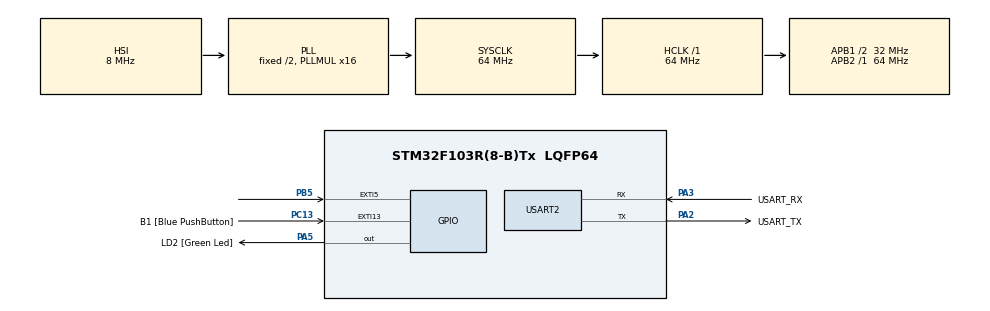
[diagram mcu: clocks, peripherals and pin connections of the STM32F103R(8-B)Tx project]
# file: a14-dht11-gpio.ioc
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Mcu.Family=STM32F1
Mcu.Name=STM32F103R(8-B)Tx
Mcu.Package=LQFP64
NVIC.EXTI15_10_IRQn=true\:0\:0\:false\:false\:true\:true\:true
NVIC.EXTI9_5_IRQn=true\:0\:0\:false\:false\:true\:true\:true
NVIC.PriorityGroup=NVIC_PRIORITYGROUP_4
NVIC.TIM3_IRQn=true\:0\:0\:false\:false\:true\:true\:true
PA13.GPIO_Label=TMS
PA13.Mode=Serial_Wire
PA13.Signal=SYS_JTMS-SWDIO
PA14.GPIO_Label=TCK
PA14.Mode=Serial_Wire
PA14.Signal=SYS_JTCK-SWCLK
PA2.GPIO_Label=USART_TX
PA2.GPIO_Mode=GPIO_MODE_AF_PP
PA2.GPIO_PuPd=GPIO_NOPULL
PA2.GPIO_Speed=GPIO_SPEED_FREQ_LOW
PA2.Mode=Asynchronous
PA2.Signal=USART2_TX
PA3.GPIO_Label=USART_RX
PA3.GPIO_Mode=GPIO_MODE_AF_PP
PA3.GPIO_PuPd=GPIO_NOPULL
PA3.GPIO_Speed=GPIO_SPEED_FREQ_LOW
PA3.Mode=Asynchronous
PA3.Signal=USART2_RX
PA5.GPIO_Label=LD2 [Green Led]
PA5.GPIO_ModeDefaultOutputPP=GPIO_MODE_OUTPUT_PP
PA5.GPIO_PuPd=GPIO_NOPULL
PA5.GPIO_Speed=GPIO_SPEED_FREQ_LOW
PA5.Signal=GPIO_Output
PB3.GPIO_Label=SWO
PB3.Signal=SYS_JTDO-TRACESWO
PB5.GPIO_ModeDefaultEXTI=GPIO_MODE_IT_FALLING
PB5.Signal=GPXTI5
PC13-TAMPER-RTC.GPIO_Label=B1 [Blue PushButton]
PC13-TAMPER-RTC.GPIO_PuPd=GPIO_NOPULL
PC13-TAMPER-RTC.Signal=GPXTI13
PC14-OSC32_IN.Mode=LSE-External-Oscillator
PC14-OSC32_IN.Signal=RCC_OSC32_IN
PC15-OSC32_OUT.Mode=LSE-External-Oscillator
PC15-OSC32_OUT.Signal=RCC_OSC32_OUT
PD0-OSC_IN.Mode=HSE-External-Clock-Source
PD0-OSC_IN.Signal=RCC_OSC_IN
PD1-OSC_OUT.Mode=HSE-External-Clock-Source
PD1-OSC_OUT.Signal=RCC_OSC_OUT
ProjectManager.HeapSize=0x200
ProjectManager.StackSize=0x400
ProjectManager.TargetToolchain=STM32CubeIDE
RCC.AHBFreq_Value=64000000
RCC.APB1CLKDivider=RCC_HCLK_DIV2
RCC.APB1Freq_Value=32000000
RCC.APB1TimFreq_Value=64000000
RCC.APB2Freq_Value=64000000
RCC.APB2TimFreq_Value=64000000
RCC.HCLKFreq_Value=64000000
RCC.PLLMUL=RCC_PLL_MUL16
RCC.RTCClockSelection=RCC_RTCCLKSOURCE_LSE
RCC.SYSCLKFreq_VALUE=64000000
RCC.SYSCLKSource=RCC_SYSCLKSOURCE_PLLCLK
RCC.USBFreq_Value=64000000
TIM3.Period=10-1
TIM3.Prescaler=64-1
USART2.VirtualMode=VM_ASYNC
VP_TIM3_VS_ClockSourceINT.Mode=Internal
board=NUCLEO-F103RB

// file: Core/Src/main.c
/* USER CODE BEGIN Header */
/**
  ******************************************************************************
  * @file           : main.c
  * @brief          : Main program body
  ******************************************************************************
  * @attention
  *
  * <h2><center>&copy; Copyright (c) 2021 STMicroelectronics.
  * All rights reserved.</center></h2>
  *
  * This software component is licensed by ST under BSD 3-Clause license,
  * the "License"; You may not use this file except in compliance with the
  * License. You may obtain a copy of the License at:
  *                        opensource.org/licenses/BSD-3-Clause
  *
  ******************************************************************************
  */
/* USER CODE END Header */

#include "main.h"

/* USER CODE BEGIN Includes */
#include "stdio.h"

/* USER CODE END Includes */

/* USER CODE BEGIN PD */
#ifdef __GNUC__
/* With GCC/RAISONANCE, small printf (option LD Linker->Libraries->Small printf set to 'Yes') calls __io_putchar() */
#define PUTCHAR_PROTOTYPE int __io_putchar(int ch)
#else
#define PUTCHAR_PROTOTYPE int fputc(int ch, FILE *f)
#endif /* __GNUC__ */

/* USER CODE END PD */

TIM_HandleTypeDef htim3;

UART_HandleTypeDef huart2;

/* USER CODE BEGIN PV */
uint8_t utx[16];
uint8_t urx[16];

int tim3Cnt;
int BitDataIndex;
uint8_t DHT11BitData[64];
uint8_t DHT11value[8];

/* USER CODE END PV */

void SystemClock_Config(void);
static void MX_GPIO_Init(void);
static void MX_USART2_UART_Init(void);
static void MX_TIM3_Init(void);

/* USER CODE BEGIN 0 */
PUTCHAR_PROTOTYPE
{
	/* Place your implementation of fputc here */
	/* e.g. write a character to the USART2 and Loop until the end of transmission */
	HAL_UART_Transmit(&huart2, (uint8_t *)&ch, 1, 0xFFFF);
	return ch;
}

void DHT11_GPIO_MODE_OUTPUT(void)
{
	GPIO_InitTypeDef GPIO_InitStruct = {0};

	/*Configure GPIO pin : PB5 */
	GPIO_InitStruct.Pin = GPIO_PIN_5;
	GPIO_InitStruct.Mode = GPIO_MODE_OUTPUT_PP;
	GPIO_InitStruct.Pull = GPIO_NOPULL;
	GPIO_InitStruct.Speed = GPIO_SPEED_FREQ_LOW;
	HAL_GPIO_Init(GPIOB, &GPIO_InitStruct);
}

void DHT11_GPIO_MODE_INPUT(void)
{
	GPIO_InitTypeDef GPIO_InitStruct = {0};

	/*Configure GPIO pin : PB5 */
	GPIO_InitStruct.Pin = GPIO_PIN_5;
	GPIO_InitStruct.Mode = GPIO_MODE_IT_FALLING;
	GPIO_InitStruct.Pull = GPIO_NOPULL;
	HAL_GPIO_Init(GPIOB, &GPIO_InitStruct);

	/* EXTI interrupt init*/
	HAL_NVIC_SetPriority(EXTI9_5_IRQn, 0, 0);
	HAL_NVIC_EnableIRQ(EXTI9_5_IRQn);
}

void HAL_TIM_PeriodElapsedCallback(TIM_HandleTypeDef *htim)
{
	if(htim->Instance == htim3.Instance){
		tim3Cnt += 1;
		// test pin
		HAL_GPIO_TogglePin(GPIOA, GPIO_PIN_0);
	}
}

void HAL_GPIO_EXTI_Callback(uint16_t GPIO_Pin)
{
	if(GPIO_Pin == GPIO_PIN_5){
		DHT11BitData[BitDataIndex++] = tim3Cnt;
		tim3Cnt = 0;
		// test pin
		HAL_GPIO_TogglePin(GPIOC, GPIO_PIN_0);
	}
}

int DHT11_Data_Read(int sel)
{
	int i,j,k;
	uint8_t checksum;

	DHT11_GPIO_MODE_OUTPUT();
	HAL_Delay(1);
	HAL_GPIO_WritePin(GPIOB, GPIO_PIN_5, GPIO_PIN_RESET);
	HAL_Delay(18);
	HAL_GPIO_WritePin(GPIOB, GPIO_PIN_5, GPIO_PIN_SET);

	tim3Cnt = 0;
	BitDataIndex = 0;
	for(i = 0; i < 64; i++){
		DHT11BitData[i] = 0;
	}
	for(i = 0; i < 8; i++){
		DHT11value[i] = 0;
	}

	DHT11_GPIO_MODE_INPUT();

	HAL_Delay(500); // DHT11 received time

	//----- ?��기에 코드 추�?(비트 ?��?��?���? 분석?��?�� 바이?�� ?��?��?���? �?�?) -----

	printf("---------BitDataIndex=%d--------\r\n",BitDataIndex);
	for(i = 2; i < BitDataIndex; i++){
		printf("%d,",DHT11BitData[i]);
		if(DHT11BitData[i]>10){
			DHT11BitData[i] =1;
		} else {
			DHT11BitData[i] = 0;
		}

	}

	printf("\r\n");
	for(i=0; i <8 ; i++){

		DHT11value[0] += (DHT11BitData[i+2]<<(7-i));
		DHT11value[1] += (DHT11BitData[i+10]<<(7-i));
		DHT11value[2] += (DHT11BitData[i+18]<<(7-i));
		DHT11value[3] += (DHT11BitData[i+26]<<(7-i));
		checksum += (DHT11BitData[i+34]<<(7-i));

	}

//	printf("%d,",DHT11value[0]);
//	printf("%d,",DHT11value[1]);
//	printf("%d,",DHT11value[2]);
//	printf("%d,",DHT11value[3]);
	printf("\r\n");
	if(checksum == DHT11value[0]+DHT11value[1]+DHT11value[2]+DHT11value[3]){
		for(j=0; j <4 ; j++){
				printf("%d,",DHT11value[j]);
		//		checksum = checksum + DHT11value[j];
			}
			printf("%d\r\n",checksum);
	}

	//----- ?��기에 코드 추�?(체크?�� 구하�? ?��?��?��?? ?��?��?���?) -----

	return(0);
}

/* USER CODE END 0 */

int main(void)
{
  /* USER CODE BEGIN 1 */

	HAL_StatusTypeDef tim3it;
	//HAL_StatusTypeDef uart2state;
	int retvalue;
	GPIO_PinState pc13pin;

  /* USER CODE END 1 */

  /* MCU Configuration--------------------------------------------------------*/

  /* Reset of all peripherals, Initializes the Flash interface and the Systick. */
  HAL_Init();

  /* Configure the system clock */
  SystemClock_Config();

  /* Initialize all configured peripherals */
  MX_GPIO_Init();
  MX_USART2_UART_Init();
  MX_TIM3_Init();
  /* USER CODE BEGIN 2 */

	printf("---stmf103 dht11 TEST---\r\n");

	HAL_GPIO_WritePin(GPIOB, GPIO_PIN_5, GPIO_PIN_SET);

	tim3it = HAL_TIM_Base_Start_IT(&htim3);
	if(HAL_OK == tim3it){
		printf("HAL_TIM_Base_Start_IT=%d OK\r\n",tim3it);
	}else{
		printf("HAL_TIM_Base_Start_IT=%d error\r\n",tim3it);
	}

  /* USER CODE END 2 */

  /* Infinite loop */
  while (1)
  {

    /* USER CODE BEGIN 3 */

	  pc13pin = HAL_GPIO_ReadPin(GPIOC, GPIO_PIN_13);
	  if(GPIO_PIN_RESET == pc13pin){
		  retvalue = DHT11_Data_Read(1);
		  if(0 == retvalue){
			  printf("Humirity=%d.%d / Temperature=%d.%d\r\n",DHT11value[0],DHT11value[1],DHT11value[2],DHT11value[3]);
		  }else{
			  printf("dht11 checksum error\r\n");
		  }
	  }

	  HAL_Delay(100);
	  HAL_GPIO_TogglePin(GPIOA, GPIO_PIN_5);

  }
  /* USER CODE END 3 */
}

void SystemClock_Config(void)
{
  RCC_OscInitTypeDef RCC_OscInitStruct = {0};
  RCC_ClkInitTypeDef RCC_ClkInitStruct = {0};

  /** Initializes the CPU, AHB and APB busses clocks
  */
  RCC_OscInitStruct.OscillatorType = RCC_OSCILLATORTYPE_HSI;
  RCC_OscInitStruct.HSIState = RCC_HSI_ON;
  RCC_OscInitStruct.HSICalibrationValue = RCC_HSICALIBRATION_DEFAULT;
  RCC_OscInitStruct.PLL.PLLState = RCC_PLL_ON;
  RCC_OscInitStruct.PLL.PLLSource = RCC_PLLSOURCE_HSI_DIV2;
  RCC_OscInitStruct.PLL.PLLMUL = RCC_PLL_MUL16;
  if (HAL_RCC_OscConfig(&RCC_OscInitStruct) != HAL_OK)
  {
    Error_Handler();
  }
  /** Initializes the CPU, AHB and APB busses clocks
  */
  RCC_ClkInitStruct.ClockType = RCC_CLOCKTYPE_HCLK|RCC_CLOCKTYPE_SYSCLK
                              |RCC_CLOCKTYPE_PCLK1|RCC_CLOCKTYPE_PCLK2;
  RCC_ClkInitStruct.SYSCLKSource = RCC_SYSCLKSOURCE_PLLCLK;
  RCC_ClkInitStruct.AHBCLKDivider = RCC_SYSCLK_DIV1;
  RCC_ClkInitStruct.APB1CLKDivider = RCC_HCLK_DIV2;
  RCC_ClkInitStruct.APB2CLKDivider = RCC_HCLK_DIV1;

  if (HAL_RCC_ClockConfig(&RCC_ClkInitStruct, FLASH_LATENCY_2) != HAL_OK)
  {
    Error_Handler();
  }
}

static void MX_TIM3_Init(void)
{

  TIM_ClockConfigTypeDef sClockSourceConfig = {0};
  TIM_MasterConfigTypeDef sMasterConfig = {0};

  htim3.Instance = TIM3;
  htim3.Init.Prescaler = 64-1;
  htim3.Init.CounterMode = TIM_COUNTERMODE_UP;
  htim3.Init.Period = 10-1;
  htim3.Init.ClockDivision = TIM_CLOCKDIVISION_DIV1;
  htim3.Init.AutoReloadPreload = TIM_AUTORELOAD_PRELOAD_DISABLE;
  if (HAL_TIM_Base_Init(&htim3) != HAL_OK)
  {
    Error_Handler();
  }
  sClockSourceConfig.ClockSource = TIM_CLOCKSOURCE_INTERNAL;
  if (HAL_TIM_ConfigClockSource(&htim3, &sClockSourceConfig) != HAL_OK)
  {
    Error_Handler();
  }
  sMasterConfig.MasterOutputTrigger = TIM_TRGO_RESET;
  sMasterConfig.MasterSlaveMode = TIM_MASTERSLAVEMODE_DISABLE;
  if (HAL_TIMEx_MasterConfigSynchronization(&htim3, &sMasterConfig) != HAL_OK)
  {
    Error_Handler();
  }

}

static void MX_USART2_UART_Init(void)
{

  huart2.Instance = USART2;
  huart2.Init.BaudRate = 115200;
  huart2.Init.WordLength = UART_WORDLENGTH_8B;
  huart2.Init.StopBits = UART_STOPBITS_1;
  huart2.Init.Parity = UART_PARITY_NONE;
  huart2.Init.Mode = UART_MODE_TX_RX;
  huart2.Init.HwFlowCtl = UART_HWCONTROL_NONE;
  huart2.Init.OverSampling = UART_OVERSAMPLING_16;
  if (HAL_UART_Init(&huart2) != HAL_OK)
  {
    Error_Handler();
  }

}

static void MX_GPIO_Init(void)
{
  GPIO_InitTypeDef GPIO_InitStruct = {0};

  /* GPIO Ports Clock Enable */
  __HAL_RCC_GPIOC_CLK_ENABLE();
  __HAL_RCC_GPIOD_CLK_ENABLE();
  __HAL_RCC_GPIOA_CLK_ENABLE();
  __HAL_RCC_GPIOB_CLK_ENABLE();

  /*Configure GPIO pin Output Level */
  HAL_GPIO_WritePin(LD2_GPIO_Port, LD2_Pin, GPIO_PIN_RESET);

  /*Configure GPIO pin : B1_Pin */
  GPIO_InitStruct.Pin = B1_Pin;
  GPIO_InitStruct.Mode = GPIO_MODE_IT_RISING;
  GPIO_InitStruct.Pull = GPIO_NOPULL;
  HAL_GPIO_Init(B1_GPIO_Port, &GPIO_InitStruct);

  /*Configure GPIO pin : LD2_Pin */
  GPIO_InitStruct.Pin = LD2_Pin;
  GPIO_InitStruct.Mode = GPIO_MODE_OUTPUT_PP;
  GPIO_InitStruct.Pull = GPIO_NOPULL;
  GPIO_InitStruct.Speed = GPIO_SPEED_FREQ_LOW;
  HAL_GPIO_Init(LD2_GPIO_Port, &GPIO_InitStruct);

  /*Configure GPIO pin : PB5 */
  GPIO_InitStruct.Pin = GPIO_PIN_5;
  GPIO_InitStruct.Mode = GPIO_MODE_IT_FALLING;
  GPIO_InitStruct.Pull = GPIO_NOPULL;
  HAL_GPIO_Init(GPIOB, &GPIO_InitStruct);

  /* EXTI interrupt init*/
  HAL_NVIC_SetPriority(EXTI9_5_IRQn, 0, 0);
  HAL_NVIC_EnableIRQ(EXTI9_5_IRQn);

  HAL_NVIC_SetPriority(EXTI15_10_IRQn, 0, 0);
  HAL_NVIC_EnableIRQ(EXTI15_10_IRQn);

}

void Error_Handler(void)
{
}

/************************ (C) COPYRIGHT STMicroelectronics *****END OF FILE****/
